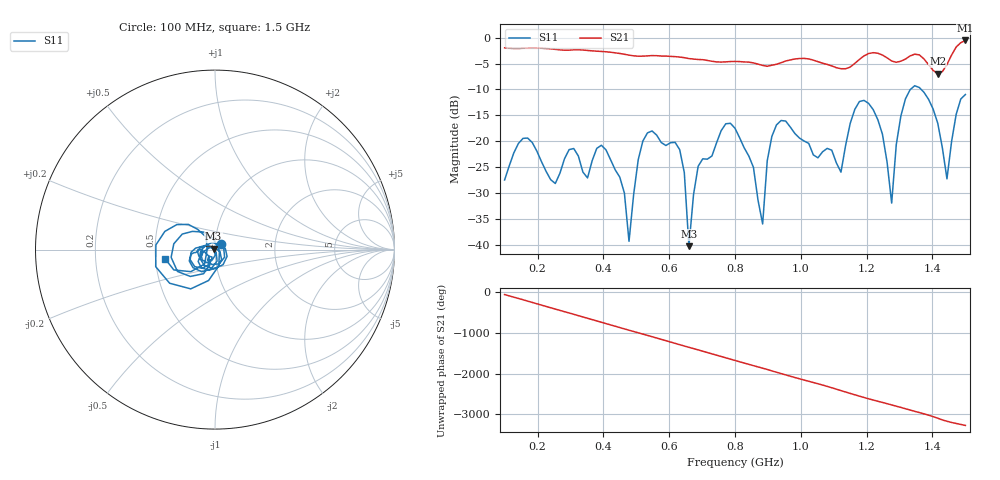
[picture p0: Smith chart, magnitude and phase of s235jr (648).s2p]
! NanoVNA-App
! Date: 2025-09-25 15:09:13
! Start: 100MHz Stop: 1,5GHz Points: 101
! S-Parameter data: F S11 S21 S12 S22
# Hz S RI R 50
!  Frequency  S11_Real  S11_Imag  S21_Real  S21_Imag  S12_Real  S12_Imag  S22_Real  S22_Imag
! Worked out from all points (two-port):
!   101 points, 100 MHz to 1.5 GHz, reference 50 ohm
!   highest |S21| = -0.54 dB at 1.5 GHz (marker M1); lowest = -7.0 dB at 1.416 GHz (marker M2)
!   |S21| within 3 dB of the highest: start of sweep to 498.5 MHz; 1.192 GHz to 1.253 GHz (61.29 MHz wide, 5.01 % of centre) (the widest 2 of 5)
!   lowest |S11| = -40.3 dB at 660 MHz (marker M3), VSWR 1.02, Z = 49.2 + j0.56 ohm
!   |S11| at or under -10 dB: start of sweep to 1.333 GHz; 1.366 GHz to end of sweep
!   S12 and S22 are empty: the file has one direction only
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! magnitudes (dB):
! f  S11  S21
! 100 MHz  -27.5  -2.0
! 156 MHz  -19.4  -2.0
! 338 MHz  -26.0  -2.4
! 408 MHz  -21.7  -2.7
! 478 MHz  -39.3  -3.4
! 520 MHz  -20.0  -3.6
! 576 MHz  -20.2  -3.5
! 632 MHz  -21.6  -3.7
! 660 MHz  -40.3  -4.0
! 688 MHz  -24.8  -4.2
! 800 MHz  -17.5  -4.6
! 884 MHz  -36.0  -5.4
! 926 MHz  -16.8  -5.1
! 1.038 GHz  -22.6  -4.3
! 1.122 GHz  -26.0  -6.0
! 1.192 GHz  -12.1  -3.5
! 1.248 GHz  -18.6  -3.3
! 1.276 GHz  -31.9  -4.5
! 1.332 GHz  -10.0  -3.5
! 1.416 GHz  -16.5  -7.0
! 1.444 GHz  -27.3  -5.2
! 1.5 GHz  -11.0  -0.5
